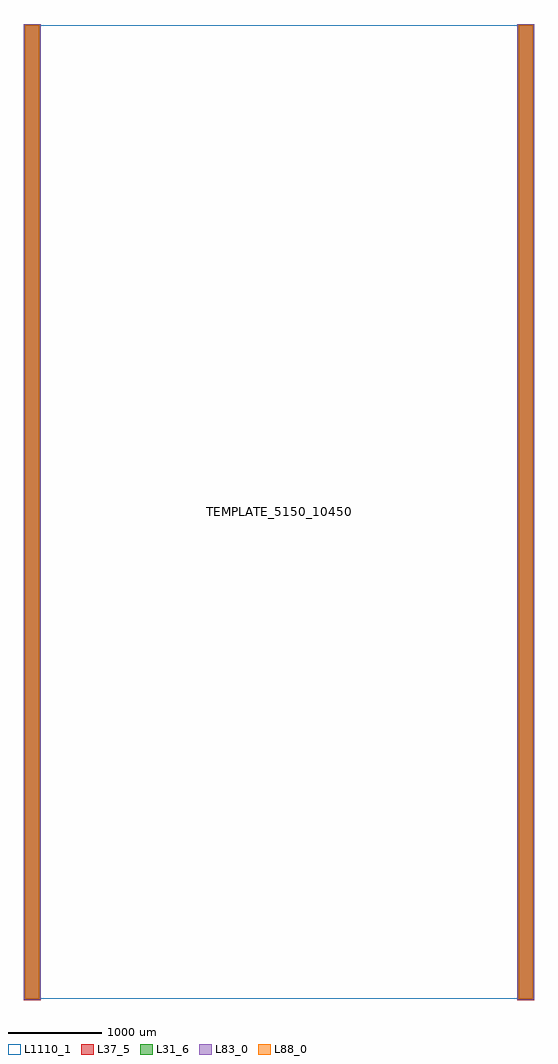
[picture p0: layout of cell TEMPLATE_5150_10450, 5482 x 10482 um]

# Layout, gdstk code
import gdstk
lib = gdstk.Library(unit=1e-6, precision=1e-09)
def R(c, l, rs):  # rectangles x0, y0, x1, y1
    for r in rs: c.add(gdstk.rectangle(r[:2], r[2:], *l))
def P(c, l, *ps):  # polygons
    for p in ps: c.add(gdstk.Polygon(p, *l))
L31_6 = (31, 6)
L37_5 = (37, 5)
L83_0 = (83, 0)
L88_0 = (88, 0)
L1110_1 = (1110, 1)

template_5150_10450 = lib.new_cell('TEMPLATE_5150_10450')
R(template_5150_10450, L31_6, [(-165.2,-15.2,15.2,10465.2), (5134.8,-15.2,5315.2,10465.2)])
R(template_5150_10450, L37_5, [(-166,-16,16,10466), (5134,-16,5316,10466)])
R(template_5150_10450, L83_0, [(-165,-15,15,10465), (5135,-15,5315,10465)])
R(template_5150_10450, L88_0, [(-150,0,0,10450), (5150,0,5300,10450)])
P(template_5150_10450, L1110_1, [(-166,-16),(-166,10466),(16,10466),(16,10450),(5134,10450),(5134,10466),(5316,10466),(5316,-16),(5134,-16),(5134,0),(16,0),(16,-16)])
template_5150_10450.add(gdstk.Label('TEMPLATE_5150_10450', (2575,5225.5), layer=1002, texttype=0))
template_5150_10450.add(gdstk.Label('ISIPP50G_2_3_0', (2575,5225), layer=1002, texttype=0))
template_5150_10450.add(gdstk.Label('imec_cell', (2575,5224.5), layer=1002, texttype=0))

lib.write_gds('TEMPLATE_5150_10450.gds')
